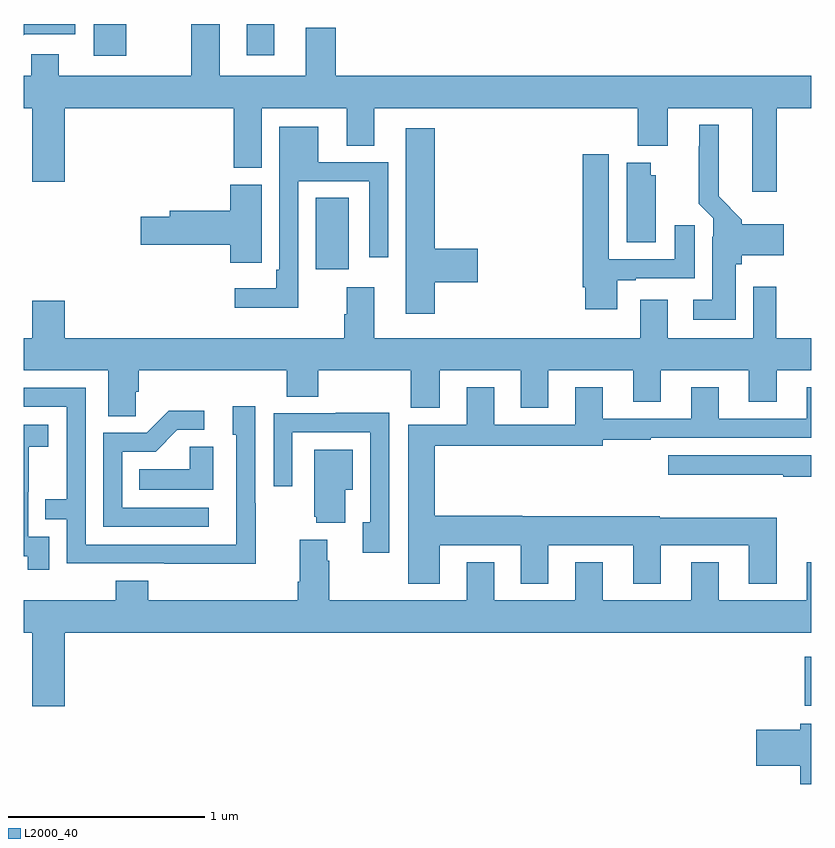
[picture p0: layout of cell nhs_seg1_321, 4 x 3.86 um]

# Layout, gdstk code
import gdstk
lib = gdstk.Library(unit=1e-6, precision=1e-09)
def R(c, l, rs):  # rectangles x0, y0, x1, y1
    for r in rs: c.add(gdstk.rectangle(r[:2], r[2:], *l))
def P(c, l, *ps):  # polygons
    for p in ps: c.add(gdstk.Polygon(p, *l))
L2000_40 = (2000, 40)

nhs_seg1_321 = lib.new_cell('nhs_seg1_321')
R(nhs_seg1_321, L2000_40, [(132.967,508.737,133,508.987), (130.484,510.954,130.651,511.316), (129.356,512.037,129.52,512.199), (130.133,512.04,130.273,512.199)])
P(nhs_seg1_321, L2000_40, [(129.006,512.148),(129.261,512.148),(129.261,512.199),(129,512.199),(129,512.142)],
  [(130.433,512.179),(130.433,511.936),(129.997,511.936),(129.997,512.199),(129.85,512.199),(129.85,511.936),(129.178,511.936),(129.178,512.046),(129.039,512.046),(129.039,511.936),(129,511.936),(129,511.772),(129.044,511.772),(129.044,511.398),(129.208,511.398),(129.208,511.772),(130.067,511.772),(130.067,511.468),(130.21,511.468),(130.21,511.772),(130.64,511.772),(130.64,511.582),(130.78,511.582),(130.78,511.772),(132.119,511.772),(132.119,511.58),(132.271,511.58),(132.271,511.772),(132.701,511.772),(132.701,511.347),(132.824,511.347),(132.824,511.772),(133,511.772),(133,511.936),(130.586,511.936),(130.586,512.179)],
  [(132.616,510.978),(132.647,510.978),(132.647,511.025),(132.859,511.025),(132.859,511.183),(132.647,511.183),(132.647,511.206),(132.529,511.324),(132.529,511.687),(132.431,511.687),(132.431,511.577),(132.427,511.577),(132.427,511.286),(132.501,511.212),(132.501,511.118),(132.497,511.118),(132.497,510.799),(132.399,510.799),(132.399,510.698),(132.616,510.698)],
  [(130.395,511.401),(130.755,511.401),(130.755,511.014),(130.851,511.014),(130.851,511.497),(130.495,511.497),(130.495,511.678),(130.299,511.678),(130.299,510.952),(130.283,510.952),(130.283,510.856),(130.071,510.856),(130.071,510.758),(130.395,510.758)],
  [(131.087,510.887),(131.305,510.887),(131.305,511.058),(131.087,511.058),(131.087,511.669),(130.94,511.669),(130.94,510.729),(131.087,510.729)],
  [(132.013,510.897),(132.109,510.897),(132.109,510.909),(132.409,510.909),(132.409,511.177),(132.305,511.177),(132.305,511.005),(131.971,511.005),(131.971,511.537),(131.84,511.537),(131.84,510.862),(131.852,510.862),(131.852,510.75),(132.013,510.75)],
  [(132.211,511.431),(132.184,511.431),(132.184,511.495),(132.062,511.495),(132.062,511.09),(132.211,511.09)],
  [(130.209,511.099),(130.21,511.099),(130.21,511.383),(130.049,511.383),(130.049,511.25),(129.743,511.25),(129.743,511.22),(129.594,511.22),(129.594,511.078),(130.049,511.078),(130.049,510.987),(130.209,510.987)],
  [(129.57,510.331),(129.584,510.331),(129.584,510.44),(130.337,510.44),(130.337,510.307),(130.497,510.307),(130.497,510.44),(130.966,510.44),(130.966,510.25),(131.113,510.25),(131.113,510.44),(131.525,510.44),(131.525,510.25),(131.665,510.25),(131.665,510.44),(132.095,510.44),(132.095,510.28),(132.235,510.28),(132.235,510.44),(132.683,510.44),(132.683,510.28),(132.823,510.28),(132.823,510.44),(133,510.44),(133,510.604),(132.821,510.604),(132.821,510.865),(132.705,510.865),(132.705,510.604),(132.271,510.604),(132.271,510.799),(132.131,510.799),(132.131,510.604),(130.78,510.604),(130.78,510.862),(130.64,510.862),(130.64,510.725),(130.628,510.725),(130.628,510.604),(129.208,510.604),(129.208,510.793),(129.044,510.793),(129.044,510.604),(129,510.604),(129,510.44),(129.431,510.44),(129.431,510.208),(129.57,510.208)],
  [(131.113,509.552),(131.525,509.552),(131.525,509.358),(131.665,509.358),(131.665,509.552),(132.095,509.552),(132.095,509.358),(132.235,509.358),(132.235,509.552),(132.683,509.552),(132.683,509.358),(132.823,509.358),(132.823,509.692),(132.231,509.692),(132.231,509.7),(131.532,509.7),(131.532,509.703),(131.087,509.703),(131.087,510.057),(131.941,510.057),(131.941,510.087),(132.185,510.087),(132.185,510.099),(133,510.099),(133,510.355),(132.977,510.355),(132.977,510.195),(132.529,510.195),(132.529,510.355),(132.389,510.355),(132.389,510.195),(131.941,510.195),(131.941,510.355),(131.801,510.355),(131.801,510.165),(131.389,510.165),(131.389,510.355),(131.249,510.355),(131.249,510.165),(130.952,510.165),(130.952,509.358),(131.113,509.358)],
  [(130.179,509.765),(130.176,509.765),(130.176,510.259),(130.061,510.259),(130.061,510.114),(130.08,510.114),(130.08,509.556),(129.315,509.556),(129.315,510.351),(129,510.351),(129,510.255),(129.219,510.255),(129.219,509.786),(129.109,509.786),(129.109,509.685),(129.219,509.685),(129.219,509.46),(129.715,509.46),(129.715,509.459),(130.179,509.459)],
  [(129.94,509.742),(129.501,509.742),(129.501,510.027),(129.67,510.027),(129.781,510.138),(129.916,510.138),(129.916,510.236),(129.737,510.236),(129.624,510.123),(129.405,510.123),(129.405,509.646),(129.94,509.646)],
  [(130.857,510.224),(130.585,510.224),(130.585,510.222),(130.269,510.222),(130.269,509.853),(130.365,509.853),(130.365,510.126),(130.761,510.126),(130.761,509.67),(130.721,509.67),(130.721,509.514),(130.857,509.514)],
  [(129.129,509.595),(129.024,509.595),(129.024,509.825),(129.026,509.825),(129.026,510.053),(129.124,510.053),(129.124,510.163),(129,510.163),(129,509.497),(129.021,509.497),(129.021,509.427),(129.129,509.427)],
  [(129.964,510.053),(129.843,510.053),(129.843,509.938),(129.586,509.938),(129.586,509.834),(129.964,509.834)],
  [(130.633,509.834),(130.672,509.834),(130.672,510.037),(130.475,510.037),(130.475,509.697),(130.487,509.697),(130.487,509.666),(130.633,509.666)],
  [(133,510.009),(132.273,510.009),(132.273,509.911),(132.857,509.911),(132.857,509.901),(133,509.901)],
  [(129.208,509.108),(133,509.108),(133,509.467),(132.977,509.467),(132.977,509.272),(132.529,509.272),(132.529,509.467),(132.389,509.467),(132.389,509.272),(131.941,509.272),(131.941,509.467),(131.801,509.467),(131.801,509.272),(131.389,509.272),(131.389,509.467),(131.249,509.467),(131.249,509.272),(130.551,509.272),(130.551,509.474),(130.543,509.474),(130.543,509.581),(130.403,509.581),(130.403,509.368),(130.391,509.368),(130.391,509.272),(129.632,509.272),(129.632,509.371),(129.467,509.371),(129.467,509.272),(129,509.272),(129,509.108),(129.044,509.108),(129.044,508.734),(129.208,508.734)],
  [(133,508.645),(132.944,508.645),(132.944,508.616),(132.72,508.616),(132.72,508.433),(132.944,508.433),(132.944,508.34),(133,508.34)])

lib.write_gds('nhs_seg1_321.gds')
